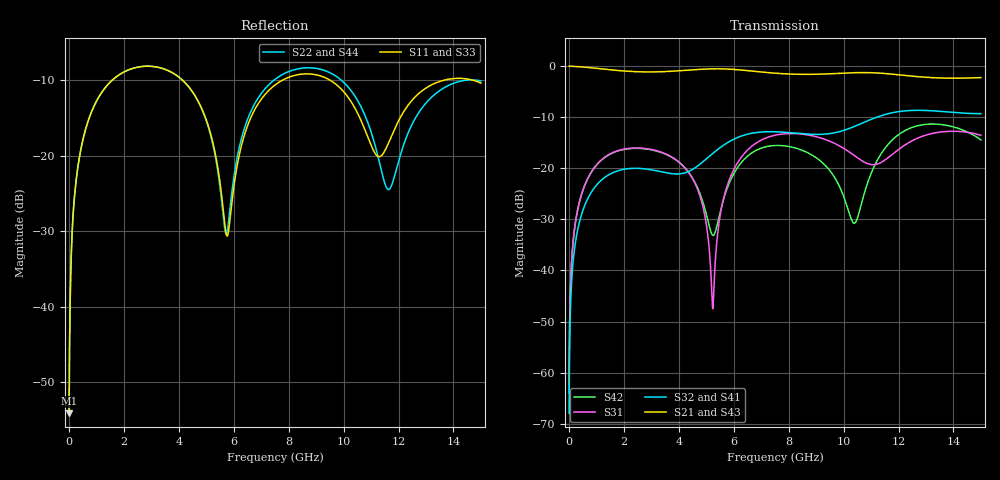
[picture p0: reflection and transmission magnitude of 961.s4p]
! Created with skrf 1.8.0 (http://scikit-rf.org).
# GHz S RI R 50.0
!freq ReS11 ImS11 ReS12 ImS12 ReS13 ImS13
! ReS14 ImS14
! ReS21 ImS21 ReS22 ImS22 ReS23 ImS23
! ReS24 ImS24
! ReS31 ImS31 ReS32 ImS32 ReS33 ImS33
! ReS34 ImS34
! ReS41 ImS41 ReS42 ImS42 ReS43 ImS43
! ReS44 ImS44
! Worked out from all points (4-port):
!   2499 points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, 5 MHz to 15 GHz, reference 50 ohm
!   strongest paths, dB at 5 MHz, 3.476 GHz, 7.19 GHz, 11.1 GHz, 15 GHz:
!     S21: 0.0, -1.1, -1.2, -1.3, -2.2
!     S43: 0.0, -1.1, -1.3, -1.3, -2.3
!     S32: -68.0, -20.8, -12.9, -10.2, -9.3
!     S41: -68.0, -20.9, -12.9, -10.2, -9.5
!     S31: -64.0, -17.1, -14.0, -19.3, -13.5
!     S42: -64.0, -17.2, -15.8, -19.8, -14.5
!   lowest |S11| = -54.1 dB at 5 MHz (marker M1), VSWR 1.00, Z = 50.2 + j0.119 ohm
!   |S11| at or under -10 dB: start of sweep to 1.566 GHz; 4.144 GHz to 7.759 GHz (3.616 GHz wide, 60.8 % of centre); 9.521 GHz to 13.63 GHz (4.106 GHz wide, 35.5 % of centre)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
0.005  0.00156 0.00119  0.9984 -0.00305  7.86e-05 0.000628  -7.63e-05 -0.000392
       0.9984 -0.00305  0.00156 0.00119  -7.63e-05 -0.000392  7.85e-05 0.000628
       7.86e-05 0.000628  -7.63e-05 -0.000392  0.00156 0.00119  0.9984 -0.00305
       -7.63e-05 -0.000392  7.85e-05 0.000628  0.9984 -0.00305  0.00156 0.00119
0.3126303  0.0222 0.0784  0.9697 -0.1898  0.0103 0.0374  -0.00849 -0.0232
           0.9697 -0.1898  0.0222 0.0784  -0.0085 -0.0232  0.0101 0.0375
           0.0103 0.0374  -0.0085 -0.0232  0.0222 0.0784  0.9697 -0.1898
           -0.00849 -0.0232  0.0101 0.0375  0.9697 -0.1898  0.0222 0.0784
1.519383  0.249 0.1855  0.5932 -0.7026  0.1222 0.0665  -0.0872 -0.0135
          0.5932 -0.7026  0.2496 0.1851  -0.0874 -0.0133  0.1201 0.069
          0.1222 0.0665  -0.0874 -0.0133  0.2488 0.1855  0.5932 -0.7026
          -0.0872 -0.0135  0.1201 0.069  0.5932 -0.7026  0.2497 0.185
5.233431  0.0592 -0.1088  -0.8793 -0.3333  0.00423 -0.000116  -0.047 0.1313
          -0.8793 -0.3333  0.058 -0.1053  -0.0434 0.1326  -0.0208 -0.00744
          0.00423 -0.000116  -0.0434 0.1326  0.06 -0.1081  -0.8794 -0.3331
          -0.047 0.1313  -0.0208 -0.00744  -0.8794 -0.3331  0.0568 -0.1053
6.202584  0.0578 0.0836  -0.9001 0.1847  0.0782 0.0915  0.0544 0.1955
          -0.9001 0.1847  0.0647 0.0939  0.0594 0.1943  0.0234 0.1049
          0.0782 0.0915  0.0594 0.1943  0.0584 0.0838  -0.8999 0.1851
          0.0544 0.1955  0.0234 0.1049  -0.8999 0.1851  0.0642 0.0954
8.972489  0.3442 -0.0274  0.0329 0.831  0.127 -0.1604  0.2026 -0.0614
          0.0329 0.831  0.3752 -0.0651  0.2023 -0.0711  0.1273 -0.0167
          0.127 -0.1604  0.2023 -0.0711  0.3455 -0.0247  0.0329 0.8299
          0.2026 -0.0614  0.1273 -0.0167  0.0329 0.8299  0.3791 -0.0666
15  0.2892 -0.0921  -0.0364 -0.7712  0.1419 -0.1552  -0.3281 0.0749
    -0.0364 -0.7712  0.3061 -0.0693  -0.3273 0.1019  0.1626 -0.0971
    0.1419 -0.1552  -0.3273 0.1019  0.2875 -0.0814  -0.0367 -0.7704
    -0.3281 0.0749  0.1626 -0.0971  -0.0367 -0.7704  0.3129 -0.0795
